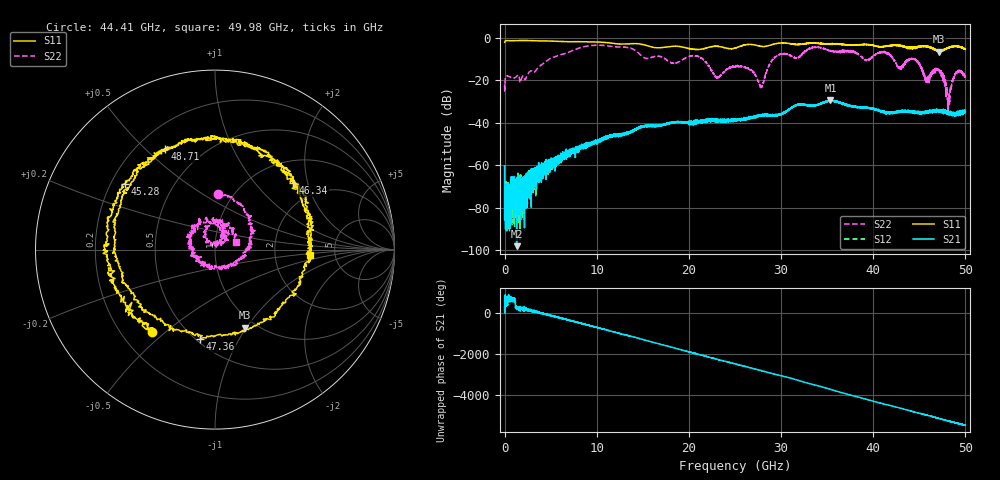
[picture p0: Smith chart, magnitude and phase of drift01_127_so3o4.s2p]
!Created with skrf (http://scikit-rf.org).
# Hz S RI R 50.0
!freq ReS11 ImS11 ReS21 ImS21 ReS12 ImS12 ReS22 ImS22
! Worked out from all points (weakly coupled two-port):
!   10001 points, 300 kHz to 50 GHz, reference 50 ohm
!   highest |S21| = -29.55 dB at 35.36 GHz (marker M1); lowest = -98.2 dB at 1.305 GHz (marker M2)
!   lowest |S11| = -6.6 dB at 47.15 GHz (marker M3), VSWR 2.75, Z = 44.5 - j49.4 ohm
!   |S11| at or under -10 dB: nowhere
!   |S22| runs from -36.2 to -3.6 dB; largest |S21 - S12| = 0.0038
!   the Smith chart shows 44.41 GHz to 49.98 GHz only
!   S11 on the Smith chart (normalised r, x): 44.41 GHz: 0.33, -0.45; 45.28 GHz: 0.26, +0.31; 46.34 GHz: 1.48, +1.63; 47.36 GHz: 0.53, -0.70; 48.71 GHz: 0.31, +0.57; 49.98 GHz: 3.22, -0.24
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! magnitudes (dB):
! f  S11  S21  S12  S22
! 300 kHz  -2.1  -60.4  -60.0  -21.9
! 255.3 MHz  -1.4  -78.7  -76.0  -18.0
! 1.305 GHz  -1.4  -98.2  -77.7  -18.3
! 8.335 GHz  -1.9  -51.6  -51.5  -4.5
! 16.67 GHz  -4.8  -41.0  -41.6  -8.7
! 20.97 GHz  -5.6  -39.1  -39.4  -8.8
! 23.1 GHz  -4.1  -39.4  -38.8  -18.9
! 25 GHz  -5.0  -39.1  -38.8  -13.6
! 27.84 GHz  -4.1  -36.6  -36.4  -23.2
! 29.47 GHz  -2.8  -36.4  -36.7  -8.8
! 33.34 GHz  -2.6  -32.1  -31.9  -4.7
! 35.36 GHz  -2.9  -29.6  -29.7  -6.2
! 41.67 GHz  -3.9  -35.6  -35.3  -7.7
! 44.41 GHz  -4.8  -34.9  -35.3  -10.1
! 45.28 GHz  -4.1  -35.3  -35.3  -15.1
! 46.34 GHz  -4.8  -34.9  -35.0  -16.6
! 47.15 GHz  -6.6  -34.5  -34.8  -15.1
! 47.36 GHz  -6.0  -35.3  -34.9  -16.3
! 48.13 GHz  -4.8  -35.5  -35.2  -31.9
! 48.71 GHz  -4.1  -35.6  -35.9  -18.6
! 49.98 GHz  -5.5  -34.8  -35.1  -18.0
! 50 GHz  -5.4  -34.8  -35.1  -18.2
